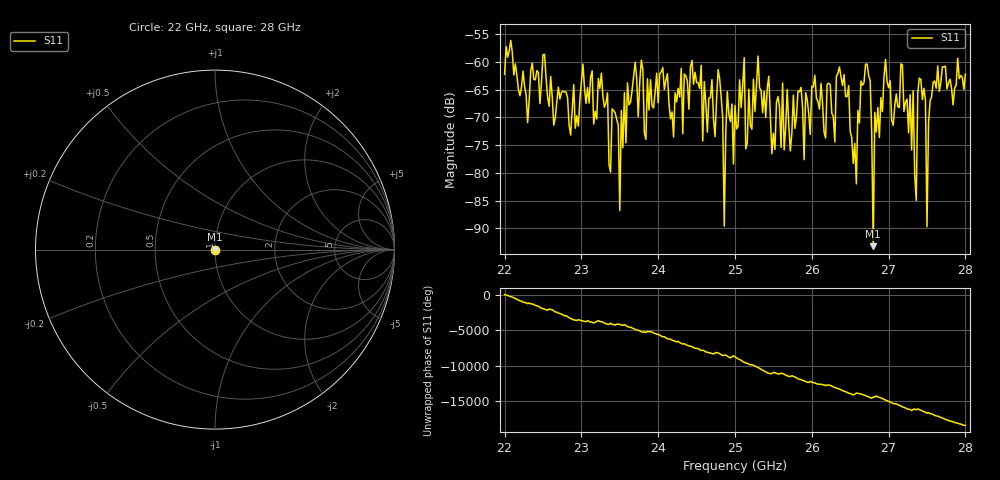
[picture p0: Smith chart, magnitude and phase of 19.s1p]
#  HZ  S  RI  R  50.00
! Rohde & Schwarz ZVA40 4Ports - Version 3.90 - 1145.1110k42 SN: 100403
! Date: 2023-10-04 09:33:41
! Measurement: S12
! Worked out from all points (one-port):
!   301 points, 22 GHz to 28 GHz, reference 50 ohm
!   lowest |S11| = -93.2 dB at 26.8 GHz (marker M1), VSWR 1.00, Z = 50 - j0.000379 ohm
!   |S11| at or under -10 dB: start of sweep to end of sweep
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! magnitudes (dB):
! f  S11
! 22 GHz  -62.2
! 22.76 GHz  -65.2
! 23.26 GHz  -62.0
! 23.5 GHz  -86.8
! 23.7 GHz  -60.0
! 23.84 GHz  -74.0
! 23.86 GHz  -63.0
! 24.26 GHz  -64.8
! 24.74 GHz  -73.5
! 24.78 GHz  -61.4
! 24.86 GHz  -89.6
! 24.9 GHz  -65.3
! 24.98 GHz  -78.4
! 25 GHz  -67.8
! 25.76 GHz  -66.0
! 26.36 GHz  -60.9
! 26.5 GHz  -72.6
! 26.58 GHz  -82.0
! 26.72 GHz  -60.4
! 26.8 GHz  -93.2
! 26.96 GHz  -59.5
! 27.26 GHz  -72.8
! 27.32 GHz  -65.2
! 27.36 GHz  -85.0
! 27.42 GHz  -63.2
! 27.5 GHz  -89.7
! 27.64 GHz  -60.7
! 28 GHz  -62.2
